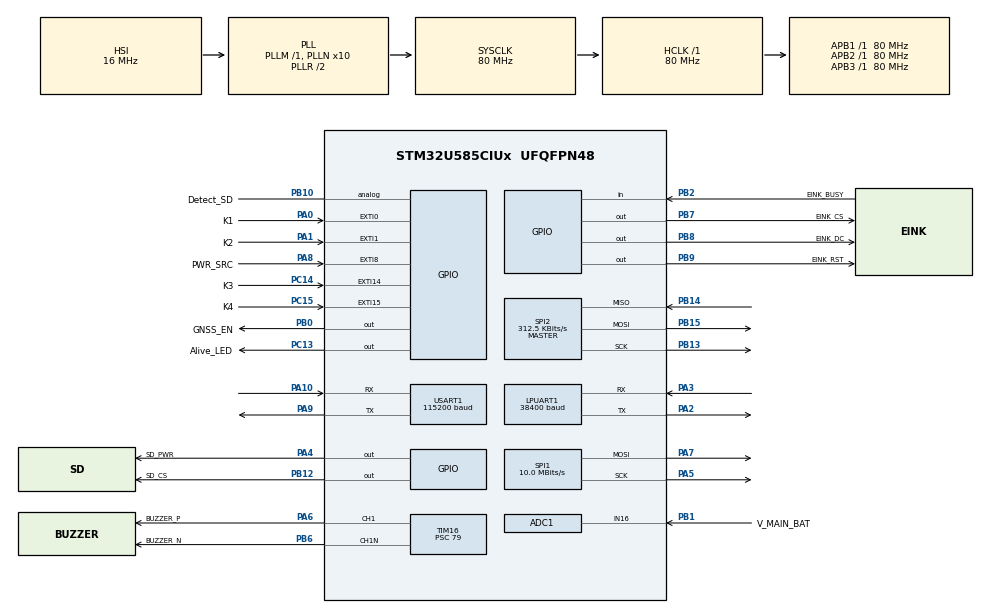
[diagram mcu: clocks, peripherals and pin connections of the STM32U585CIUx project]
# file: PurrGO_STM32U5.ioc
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ADC1.NbrOfConversion=1
ADC1.master=1
CORTEX_M33_NS.userName=CORTEX_M33
LPUART1.BaudRate=38400
Linkedlist.MDMA_Channel0.GP_SW.0.BlkHWRequest=DMA_BREQ_SINGLE_BURST
Linkedlist.MDMA_Channel0.GP_SW.0.DataHandling=NONE
Linkedlist.MDMA_Channel0.GP_SW.0.DataSize=0
Linkedlist.MDMA_Channel0.GP_SW.0.DestDataWidth=DMA_DEST_DATAWIDTH_BYTE
Linkedlist.MDMA_Channel0.GP_SW.0.DestInc=DMA_DINC_INCREMENTED
Linkedlist.MDMA_Channel0.GP_SW.0.Direction=DMA_PERIPH_TO_MEMORY
Linkedlist.MDMA_Channel0.GP_SW.0.DstAddress=0
Linkedlist.MDMA_Channel0.GP_SW.0.Instance=MDMA_Channel0
Linkedlist.MDMA_Channel0.GP_SW.0.LL_CIRCULARNODE=Nodetoloopon
Linkedlist.MDMA_Channel0.GP_SW.0.LL_MASTERDMA=LPDMA
Linkedlist.MDMA_Channel0.GP_SW.0.LL_NAME=LPUART1_RX_Queue
Linkedlist.MDMA_Channel0.GP_SW.0.LL_TYPE=CIRCULAR
Linkedlist.MDMA_Channel0.GP_SW.0.NODE_NAME=LPUART1_RX_Node
Linkedlist.MDMA_Channel0.GP_SW.0.Requestforcodegen=LPDMA1_REQUEST_LPUART1_RX
Linkedlist.MDMA_Channel0.GP_SW.0.SrcAddress=0
Linkedlist.MDMA_Channel0.GP_SW.0.SrcDataWidth=DMA_SRC_DATAWIDTH_BYTE
Linkedlist.MDMA_Channel0.GP_SW.0.SrcInc=DMA_SINC_FIXED
Linkedlist.MDMA_Channel0.GP_SW.0.TransferEventMode=DMA_TCEM_BLOCK_TRANSFER
Linkedlist.MDMA_Channel0.GP_SW.0.TriggerPolarity=DMA_TRIG_POLARITY_MASKED
Linkedlist.MDMA_Channel0.Request0=GP_SW
Linkedlist.MDMA_Channel0.RequestsNb=1
Linkedlist.RequestSet0=MDMA_Channel0
Linkedlist.RequestSetsNb=1
Mcu.Family=STM32U5
Mcu.Name=STM32U585CIUx
Mcu.Package=UFQFPN48
NVIC.EXTI0_IRQn=true\:5\:0\:true\:false\:true\:true\:true\:true
NVIC.EXTI14_IRQn=true\:5\:0\:true\:false\:true\:true\:true\:true
NVIC.EXTI15_IRQn=true\:5\:0\:true\:false\:true\:true\:true\:true
NVIC.EXTI1_IRQn=true\:5\:0\:true\:false\:true\:true\:true\:true
NVIC.EXTI8_IRQn=true\:5\:0\:true\:false\:true\:true\:true\:true
NVIC.LPDMA1_Channel0_IRQn=true\:0\:0\:false\:false\:true\:true\:true\:true
NVIC.LPUART1_IRQn=true\:0\:0\:false\:false\:true\:true\:true\:true
NVIC.PriorityGroup=NVIC_PRIORITYGROUP_4
NVIC.USART1_IRQn=true\:0\:0\:false\:false\:true\:true\:true\:true
PA0.GPIO_Label=K1
PA0.GPIO_ModeDefaultEXTI=GPIO_MODE_IT_RISING_FALLING
PA0.GPIO_PuPd=GPIO_PULLUP
PA0.Signal=GPXTI0
PA1.GPIO_Label=K2
PA1.GPIO_ModeDefaultEXTI=GPIO_MODE_IT_RISING_FALLING
PA1.GPIO_PuPd=GPIO_PULLUP
PA1.Signal=GPXTI1
PA10.GPIO_PuPd=GPIO_PULLUP
PA10.Mode=Asynchronous
PA10.Signal=USART1_RX
PA13\ (JTMS/SWDIO).Mode=Serial_Wire
PA13\ (JTMS/SWDIO).Signal=DEBUG_JTMS-SWDIO
PA14\ (JTCK/SWCLK).Mode=Serial_Wire
PA14\ (JTCK/SWCLK).Signal=DEBUG_JTCK-SWCLK
PA2.Mode=Asynchronous
PA2.Signal=LPUART1_TX
PA3.GPIO_PuPd=GPIO_PULLUP
PA3.Mode=Asynchronous
PA3.Signal=LPUART1_RX
PA4.GPIO_Label=SD_PWR
PA4.PinState=GPIO_PIN_RESET
PA4.Signal=GPIO_Output
PA5.GPIO_Speed=GPIO_SPEED_FREQ_VERY_HIGH
PA5.Mode=TX_Only_Simplex_Unidirect_Master
PA5.Signal=SPI1_SCK
PA6.GPIO_Label=BUZZER_P
PA6.Signal=S_TIM16_CH1
PA7.GPIO_Speed=GPIO_SPEED_FREQ_VERY_HIGH
PA7.Mode=TX_Only_Simplex_Unidirect_Master
PA7.Signal=SPI1_MOSI
PA8.GPIO_Label=PWR_SRC
PA8.GPIO_ModeDefaultEXTI=GPIO_MODE_IT_RISING_FALLING
PA8.Signal=GPXTI8
PA9.Mode=Asynchronous
PA9.Signal=USART1_TX
PB0.GPIO_Label=GNSS_EN
PB0.GPIO_ModeDefaultOutputPP=GPIO_MODE_OUTPUT_PP
PB0.GPIO_PuPd=GPIO_NOPULL
PB0.PinState=GPIO_PIN_SET
PB0.Signal=GPIO_Output
PB1.GPIO_Label=V_MAIN_BAT
PB1.Mode=IN16-Single-Ended
PB1.Signal=ADC1_IN16
PB10.GPIO_Label=Detect_SD
PB10.Signal=GPIO_Analog
PB12.GPIO_Label=SD_CS
PB12.GPIO_Speed=GPIO_SPEED_FREQ_VERY_HIGH
PB12.PinState=GPIO_PIN_RESET
PB12.Signal=GPIO_Output
PB13.GPIO_Speed=GPIO_SPEED_FREQ_VERY_HIGH
PB13.Mode=Full_Duplex_Master
PB13.Signal=SPI2_SCK
PB14.GPIO_Speed=GPIO_SPEED_FREQ_VERY_HIGH
PB14.Mode=Full_Duplex_Master
PB14.Signal=SPI2_MISO
PB15.GPIO_Speed=GPIO_SPEED_FREQ_VERY_HIGH
PB15.Mode=Full_Duplex_Master
PB15.Signal=SPI2_MOSI
PB2.GPIO_Label=EINK_BUSY
PB2.Signal=GPIO_Input
PB6.GPIO_Label=BUZZER_N
PB6.Mode=PWM Generation1 CH1 CH1N
PB6.Signal=TIM16_CH1N
PB7.GPIO_Label=EINK_CS
PB7.PinState=GPIO_PIN_SET
PB7.Signal=GPIO_Output
PB8.GPIO_Label=EINK_DC
PB8.Signal=GPIO_Output
PB9.GPIO_Label=EINK_RST
PB9.PinState=GPIO_PIN_SET
PB9.Signal=GPIO_Output
PC13.GPIO_Label=Alive_LED
PC13.PinState=GPIO_PIN_SET
PC13.Signal=GPIO_Output
PC14-OSC32_IN\ (PC14).GPIO_Label=K3
PC14-OSC32_IN\ (PC14).GPIO_ModeDefaultEXTI=GPIO_MODE_IT_RISING_FALLING
PC14-OSC32_IN\ (PC14).GPIO_PuPd=GPIO_PULLUP
PC14-OSC32_IN\ (PC14).Signal=GPXTI14
PC15-OSC32_OUT\ (PC15).GPIO_Label=K4
PC15-OSC32_OUT\ (PC15).GPIO_ModeDefaultEXTI=GPIO_MODE_IT_RISING_FALLING
PC15-OSC32_OUT\ (PC15).GPIO_PuPd=GPIO_PULLUP
PC15-OSC32_OUT\ (PC15).Signal=GPXTI15
ProjectManager.HeapSize=0x200
ProjectManager.StackSize=0x2000
ProjectManager.TargetToolchain=CMake
RCC.ADCFreq_Value=16000000
RCC.AHBFreq_Value=80000000
RCC.APB1Freq_Value=80000000
RCC.APB1TimFreq_Value=80000000
RCC.APB2Freq_Value=80000000
RCC.APB2TimFreq_Value=80000000
RCC.APB3Freq_Value=80000000
RCC.CortexFreq_Value=80000000
RCC.EPOD_VALUE=16000000
RCC.HCLKFreq_Value=80000000
RCC.HSE_VALUE=16000000
RCC.HSI48_VALUE=48000000
RCC.HSI_VALUE=16000000
RCC.LPUART1CLockSelectionVirtual=RCC_LPUART1CLKSOURCE_HSI
RCC.LSE_VALUE=32768
RCC.LSIDIV_VALUE=32000
RCC.MSI_VALUE=4000000
RCC.PLLN=10
RCC.PLLSourceVirtual=RCC_PLLSOURCE_HSI
RCC.PWR_Regulator_Voltage_Scale=PWR_REGULATOR_VOLTAGE_SCALE2
RCC.SYSCLKFreq_VALUE=80000000
RCC.SYSCLKSource=RCC_SYSCLKSOURCE_PLLCLK
RCC.USBFreq_Value=48000000
RCC.VCOOutputFreq_Value=160000000
SH.S_TIM16_CH1.0=TIM16_CH1,PWM Generation1 CH1 CH1N
SPI1.BaudRatePrescaler=SPI_BAUDRATEPRESCALER_8
SPI1.CalculateBaudRate=10.0 MBits/s
SPI1.DataSize=SPI_DATASIZE_8BIT
SPI1.Direction=SPI_DIRECTION_2LINES_TXONLY
SPI1.MasterKeepIOState=SPI_MASTER_KEEP_IO_STATE_ENABLE
SPI1.Mode=SPI_MODE_MASTER
SPI1.VirtualType=VM_MASTER
SPI2.BaudRatePrescaler=SPI_BAUDRATEPRESCALER_256
SPI2.CalculateBaudRate=312.5 KBits/s
SPI2.DataSize=SPI_DATASIZE_8BIT
SPI2.Direction=SPI_DIRECTION_2LINES
SPI2.MasterKeepIOState=SPI_MASTER_KEEP_IO_STATE_ENABLE
SPI2.Mode=SPI_MODE_MASTER
SPI2.VirtualType=VM_MASTER
TIM16.Channel=TIM_CHANNEL_1
TIM16.OffStateIDLEMode=TIM_OSSI_ENABLE
TIM16.PeriodNoDither=249
TIM16.Prescaler=79
USART1.BaudRate=115200
USART1.VirtualMode-Asynchronous=VM_ASYNC
VP_ADC1_Vref_Input.Mode=IN-Vrefint
VP_ICACHE_VS_ICACHE.Mode=DefaultMode
VP_LPBAMQUEUE_VS_QUEUE.Mode=QUEUEMODE
VP_LPBAM_VS_SIG1.Mode=SmartRun
VP_LPBAM_VS_SIG4.Mode=LPDMA1
VP_LPDMA1_VS_LPDMACH0.Mode=LINKEDLIST_LPDMACH0
VP_MEMORYMAP_VS_MEMORYMAP.Mode=CurAppReg
VP_PWR_VS_SECSignals.Mode=Security/Privilege
VP_PWR_Vdda.Mode=isolationVdda
VP_TIM16_VS_ClockSourceINT.Mode=Enable_Timer
board=custom

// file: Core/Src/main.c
/* USER CODE BEGIN Header */
/**
  ******************************************************************************
  * @file           : main.c
  * @brief          : Main program body
  ******************************************************************************
  * @attention
  *
  * Copyright (c) 2026 STMicroelectronics.
  * All rights reserved.
  *
  * This software is licensed under terms that can be found in the LICENSE file
  * in the root directory of this software component.
  * If no LICENSE file comes with this software, it is provided AS-IS.
  *
  ******************************************************************************
  */
/* USER CODE END Header */
#include "main.h"
#include "adc.h"
#include "icache.h"
#include "lpdma.h"
#include "usart.h"
#include "spi.h"
#include "tim.h"
#include "gpio.h"

/* USER CODE BEGIN Includes */

#include "stm32_app.h"
#include "purrgo/logger.h"
#include "eink_test.h"
#include "hw_test.h"

/* USER CODE END Includes */

void SystemClock_Config(void);

int main(void)
{

  /* MCU Configuration--------------------------------------------------------*/

  /* Reset of all peripherals, Initializes the Flash interface and the Systick. */
  HAL_Init();

  /* Configure the system clock */
  SystemClock_Config();

  /* Initialize all configured peripherals */
  MX_GPIO_Init();
  MX_LPDMA1_Init();
  MX_ICACHE_Init();
  MX_SPI1_Init();
  MX_SPI2_Init();
  MX_USART1_UART_Init();
  MX_ADC1_Init();
  MX_LPUART1_UART_Init();
  MX_TIM16_Init();
  /* USER CODE BEGIN 2 */
  /* ADC1 нужен только для редкого измерения батареи (battery_adc.c): сразу
   * обесточиваем регулятор АЦП, VREFINT и тактирование, измерение включит их
   * на время опроса. */
  (void)HAL_ADC_DeInit(&hadc1);

// #define PURRGO_EINK_SELFTEST_4GRAY
#if defined(PURRGO_EINK_SELFTEST_4GRAY)
  /* Самотест 4-gray через путь приложения (см. eink_test.h). */
  EinkTest_Run4Gray();
  while (1) {}
#endif

// #define PURRGO_EINK_SELFTEST_PARTIAL
#if defined(PURRGO_EINK_SELFTEST_PARTIAL)
  /* Самотест частичного обновления. */
  EinkTest_RunPartial();
  while (1) {}
#endif

#if defined(PURRGO_HW_TEST_ENABLED)
  /* Аппаратный тест (-DPURRGO_HW_TEST=<имя>, см. hw_test.h): не возвращается,
     навигатор не запускается. */
  purrgo_hw_test_run();
#endif

  /*
   * Диагностика причины запуска: SBF = 1 - выход из Standby, WUF1 = 1 - будила
   * кнопка K1 (WKUP1). Если после «Entering STANDBY mode.» в логе снова идёт
   * загрузка, значит МК не остался в Standby, а проснулся.
   */
  PURRGO_LOG("BOOT: SBF=%u WUF1=%u RCC_CSR=0x%08lX PA0=%u\r\n",
             (unsigned)(__HAL_PWR_GET_FLAG(PWR_FLAG_SBF) ? 1U : 0U),
             (unsigned)(__HAL_PWR_GET_FLAG(PWR_WAKEUP_FLAG1) ? 1U : 0U),
             (unsigned long)RCC->CSR,
             (unsigned)HAL_GPIO_ReadPin(GPIOA, GPIO_PIN_0));

  purrgo_stm32_init();

  /* USER CODE END 2 */

  /* Infinite loop */
  while (1)
  {

    /* USER CODE BEGIN 3 */

    purrgo_stm32_process();
  }
  /* USER CODE END 3 */
}

void SystemClock_Config(void)
{
  RCC_OscInitTypeDef RCC_OscInitStruct = {0};
  RCC_ClkInitTypeDef RCC_ClkInitStruct = {0};

  /** Configure the main internal regulator output voltage
  */
  if (HAL_PWREx_ControlVoltageScaling(PWR_REGULATOR_VOLTAGE_SCALE2) != HAL_OK)
  {
    Error_Handler();
  }

  /** Initializes the CPU, AHB and APB buses clocks
  */
  RCC_OscInitStruct.OscillatorType = RCC_OSCILLATORTYPE_HSI;
  RCC_OscInitStruct.HSIState = RCC_HSI_ON;
  RCC_OscInitStruct.HSICalibrationValue = RCC_HSICALIBRATION_DEFAULT;
  RCC_OscInitStruct.PLL.PLLState = RCC_PLL_ON;
  RCC_OscInitStruct.PLL.PLLSource = RCC_PLLSOURCE_HSI;
  RCC_OscInitStruct.PLL.PLLMBOOST = RCC_PLLMBOOST_DIV1;
  RCC_OscInitStruct.PLL.PLLM = 1;
  RCC_OscInitStruct.PLL.PLLN = 10;
  RCC_OscInitStruct.PLL.PLLP = 2;
  RCC_OscInitStruct.PLL.PLLQ = 2;
  RCC_OscInitStruct.PLL.PLLR = 2;
  RCC_OscInitStruct.PLL.PLLRGE = RCC_PLLVCIRANGE_1;
  RCC_OscInitStruct.PLL.PLLFRACN = 0;
  if (HAL_RCC_OscConfig(&RCC_OscInitStruct) != HAL_OK)
  {
    Error_Handler();
  }

  /** Initializes the CPU, AHB and APB buses clocks
  */
  RCC_ClkInitStruct.ClockType = RCC_CLOCKTYPE_HCLK|RCC_CLOCKTYPE_SYSCLK
                              |RCC_CLOCKTYPE_PCLK1|RCC_CLOCKTYPE_PCLK2
                              |RCC_CLOCKTYPE_PCLK3;
  RCC_ClkInitStruct.SYSCLKSource = RCC_SYSCLKSOURCE_PLLCLK;
  RCC_ClkInitStruct.AHBCLKDivider = RCC_SYSCLK_DIV1;
  RCC_ClkInitStruct.APB1CLKDivider = RCC_HCLK_DIV1;
  RCC_ClkInitStruct.APB2CLKDivider = RCC_HCLK_DIV1;
  RCC_ClkInitStruct.APB3CLKDivider = RCC_HCLK_DIV1;

  if (HAL_RCC_ClockConfig(&RCC_ClkInitStruct, FLASH_LATENCY_2) != HAL_OK)
  {
    Error_Handler();
  }
}

void Error_Handler(void)
{
  __disable_irq();
  while (1)
  {
  }
}
#ifdef USE_FULL_ASSERT
/**
  * @brief  Reports the name of the source file and the source line number
  *         where the assert_param error has occurred.
  * @param  file: pointer to the source file name
  * @param  line: assert_param error line source number
  * @retval None
  */
void assert_failed(uint8_t *file, uint32_t line)
{
  /* USER CODE BEGIN 6 */
  /* User can add his own implementation to report the file name and line number,
     ex: printf("Wrong parameters value: file %s on line %d\r\n", file, line) */

  PURRGO_LOGE("Wrong parameters value: file %s on line %d\r\n", file, line);

  /* USER CODE END 6 */
}
#endif /* USE_FULL_ASSERT */
